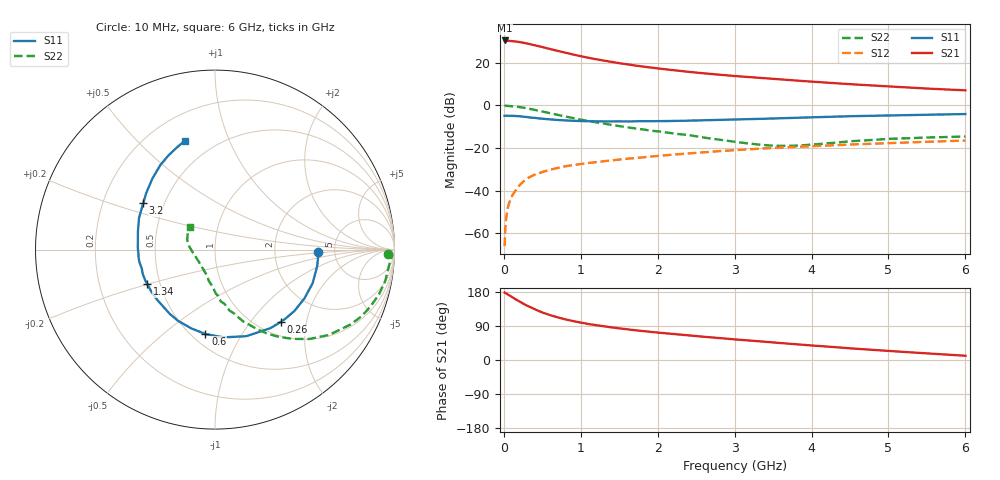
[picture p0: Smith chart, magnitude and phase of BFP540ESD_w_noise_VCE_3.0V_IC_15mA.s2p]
! Infineon Technologies  Discrete & RF Semiconductors
! BFP540ESD
! VCE =  3.0 V,  IC =  15 mA
! Common Emitter S-Parameters:  Nov 2015
# GHz  S  MA  R  50
!  f  S11  S21  S12  S22
! GHz  MAG  ANG  MAG  ANG  MAG  ANG  MAG  ANG
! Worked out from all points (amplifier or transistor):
!   210 points, 10 MHz to 6 GHz, reference 50 ohm
!   highest |S21| = 30.5 dB at 10 MHz (marker M1)
!   |S21| within 3 dB of that: start of sweep to 490.1 MHz
!   unconditionally stable (mu >= 1): start of sweep to 12.03 MHz; 2.39 GHz to end of sweep
!   at 185 MHz: K = 0.16, MSG = 34.1 dB, |S12| = -38.3 dB
!   at 1.52 GHz: K = 0.83, MSG = 22.5 dB, |S12| = -25.3 dB
!   at 6 GHz: K = 1.13, MAG = 9.6 dB, |S12| = -16.5 dB
!   lowest NFmin = 1.03 dB at 900 MHz
!   S11 on the Smith chart (normalised r, x): 10 MHz: 3.67, -0.15; 260 MHz: 1.24, -1.43; 600 MHz: 0.58, -0.71; 1.34 GHz: 0.42, -0.20; 3.2 GHz: 0.38, +0.25; 6 GHz: 0.35, +0.70
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0.01  0.5724 -1.4  33.53 178.0  0.0005 104.4  0.9615 -1.4
0.05  0.5767 -9.4  33.02 173.1  0.0039 87.0  0.9744 -5.0
0.1  0.5753 -19.1  32.55 166.9  0.0071 81.8  0.9649 -10.3
0.15  0.5676 -28.6  31.87 160.7  0.01 80.0  0.9473 -15.3
0.2  0.5592 -37.7  30.87 154.7  0.0132 75.9  0.922 -20.2
0.26  0.5448 -47.9  29.48 148.0  0.0168 72.2  0.8879 -25.6
0.3  0.5357 -54.8  28.57 143.6  0.0193 71.4  0.8618 -29.0
0.4  0.5129 -70.2  25.95 133.9  0.0238 66.6  0.7939 -36.8
0.5  0.4911 -84.5  23.52 125.4  0.0276 62.3  0.7235 -43.5
0.6  0.4733 -96.5  21.09 118.4  0.0308 59.9  0.6591 -49.0
0.8  0.4472 -117.3  17.24 107.1  0.0375 56.6  0.5498 -58.3
1.02  0.4279 -134.4  14.07 97.9  0.0428 54.2  0.4585 -65.7
1.2  0.4251 -146.2  12.13 91.7  0.047 53.2  0.4013 -70.8
1.34  0.4234 -153.2  10.97 87.8  0.05 52.6  0.364 -74.4
1.62  0.4221 -166.3  9.121 80.5  0.0567 50.7  0.3035 -80.7
2.02  0.4301 178.9  7.331 72.0  0.0659 48.9  0.2453 -88.8
2.6  0.4486 161.8  5.676 61.3  0.0799 45.9  0.1762 -101.6
3.1  0.4703 149.5  4.763 52.9  0.0916 42.7  0.1334 -116.1
3.2  0.4757 147.2  4.614 51.4  0.094 41.8  0.1271 -120.7
4.1  0.5335 129.6  3.527 37.0  0.1127 34.7  0.1246 -172.5
5.1  0.5889 115.2  2.738 22.5  0.1326 26.5  0.1667 157.9
6  0.629 105.6  2.265 11.2  0.1501 20.2  0.1872 138.2
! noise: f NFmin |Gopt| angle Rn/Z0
0.9  1.03  0.22  -135  0.11
1.8  1.2  0.25  -147  0.1
2.4  1.21  0.25  -139  0.1
3  1.32  0.29  -136  0.11
4  1.4  0.41  -108  0.2
5  1.57  0.5  -90  0.3
6  1.83  0.54  -91  0.52
